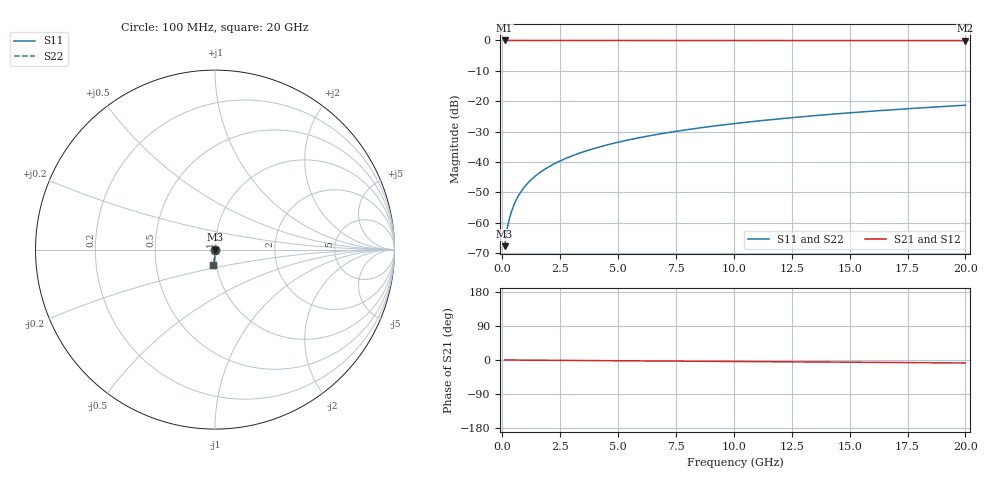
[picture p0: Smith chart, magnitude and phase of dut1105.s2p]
! Touchstone file exported from HFSS 2026.1.0
!  File:  C:/ffzhzh/LocalFiles/Ansys_Project_Files/temp_train_TSV_1105_1783190591_22436.aedt
!  Generated:  02:44:33 AM Jul  5, 2026
!  Design:  TSV
!  Project:  temp_train_TSV_1105_1783190591_22436
! Variables:
!  h_bsmrdl = 2um
!  h_ox = 20um
!  h_rdl = 5um
!  h_sub = 64.64um
!  h_tmrdl = 5um
!  h_tsv = 64.64um
!  h_via = 3um
!  l_bsmrdl = 300um
!  l_sub = 414.34um
!  l_tmrdl = 200um
!  m_sub = 200um
!  pitch = 17.17um
!  r_tsv = 7.17um
!  s_tmrdl = 10um
!  w_bsmrdl = 18um
!  w_sub = 500um
!  w_tmrdl = 12um
!  x_tsv_center1 = 206um
!  x_tsv_center2 = 524um
!  x_tsv_center3 = 736um
!  x_tsv_center4 = 1054um
!  x_tsv_center5 = 1266um
!  x_tsv_center6 = 1584um
# GHz S MA R 50.000000
! Terminal data exported
! Port[1] = TSV1_1_T1
! Port[2] = TSV1_1_T2
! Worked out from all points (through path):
!   200 points, 100 MHz to 20 GHz, reference 50 ohm
!   highest |S21| = 0.00 dB at 100 MHz (marker M1); lowest = 0.0 dB at 20 GHz (marker M2)
!   group delay of S21, straight-line fit = 1.08 ps
!   lowest |S11| = -67.7 dB at 100 MHz (marker M3), VSWR 1.00, Z = 50 - j0.0359 ohm
!   |S11| at or under -10 dB: start of sweep to end of sweep
!   |S22| runs from -67.7 to -21.3 dB; largest |S21 - S12| = 3.2e-15
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0.1  0.0004111 -60.9  0.9998 -0.0  0.9998 -0.0  0.0004111 -60.9
! Gamma 0 0 0 0
! Port Impedance 50 0 50 0
0.2  0.0007628 -72.7  0.9998 -0.1  0.9998 -0.1  0.0007628 -72.7
0.3  0.001143 -76.7  0.9997 -0.1  0.9997 -0.1  0.001143 -76.7
0.4  0.001539 -78.7  0.9997 -0.2  0.9997 -0.2  0.001539 -78.7
0.5  0.001948 -80.1  0.9997 -0.2  0.9997 -0.2  0.001948 -80.1
0.7  0.002783 -81.9  0.9996 -0.3  0.9996 -0.3  0.002783 -81.9
0.8  0.003205 -82.6  0.9996 -0.3  0.9996 -0.3  0.003205 -82.6
1  0.004053 -83.8  0.9995 -0.4  0.9995 -0.4  0.004053 -83.8
1.2  0.004901 -84.6  0.9995 -0.5  0.9995 -0.5  0.004901 -84.6
1.4  0.005749 -85.3  0.9995 -0.6  0.9995 -0.6  0.005749 -85.3
1.7  0.00702 -86.1  0.9994 -0.7  0.9994 -0.7  0.00702 -86.1
2  0.008292 -86.7  0.9994 -0.8  0.9994 -0.8  0.008292 -86.7
2.7  0.01126 -87.6  0.9993 -1.1  0.9993 -1.1  0.01126 -87.6
3.5  0.01468 -88.4  0.9991 -1.4  0.9991 -1.4  0.01468 -88.4
4.2  0.01768 -88.9  0.999 -1.7  0.999 -1.7  0.01768 -88.9
5  0.02112 -89.4  0.9988 -2.0  0.9988 -2.0  0.02112 -89.4
6.8  0.02889 -90.4  0.9985 -2.7  0.9985 -2.7  0.02889 -90.4
8.3  0.03539 -91.2  0.9981 -3.3  0.9981 -3.3  0.03539 -91.2
10.1  0.04319 -92.1  0.9977 -4.0  0.9977 -4.0  0.04319 -92.1
13.4  0.05747 -93.6  0.9967 -5.2  0.9967 -5.2  0.05747 -93.6
16.7  0.07172 -95.1  0.9956 -6.5  0.9956 -6.5  0.07172 -95.1
20  0.08595 -96.4  0.9943 -7.8  0.9943 -7.8  0.08595 -96.4
